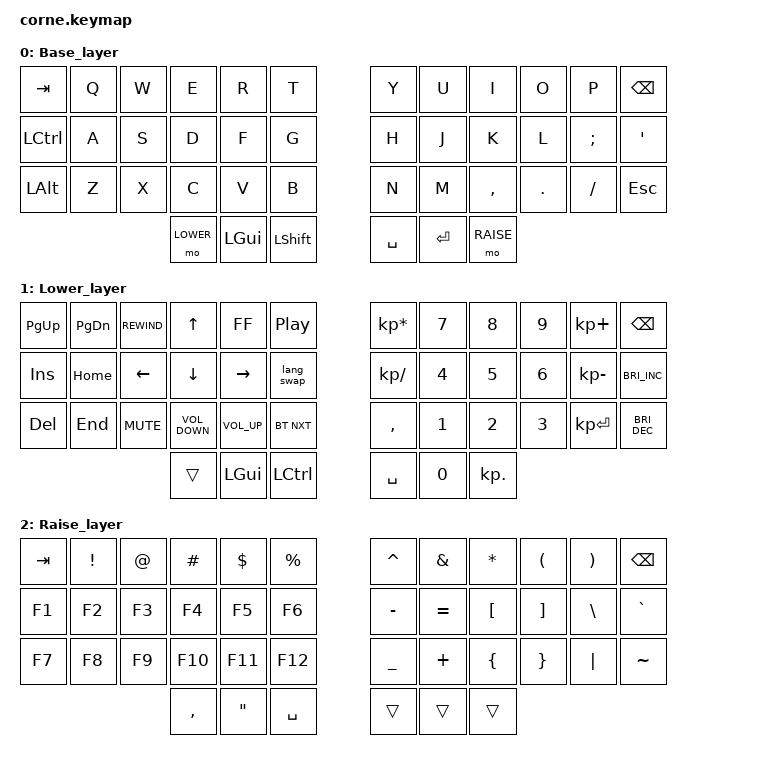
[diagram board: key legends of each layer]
#include <behaviors.dtsi>
#include <dt-bindings/zmk/bt.h>
#include <dt-bindings/zmk/keys.h>

#define BASE 0
#define LOWER 1
#define RAISE 2

/ {
    macros {
        lang_swap: lang_swap {
            compatible = "zmk,behavior-macro";
            #binding-cells = <0>;
            bindings =
                <&macro_press>,
                <&kp LEFT_CONTROL &kp SPACE>,
                <&macro_release>,
                <&kp LEFT_CONTROL &kp SPACE>;

            label = "LANG_SWAP";
        };
    };

    keymap {
        compatible = "zmk,keymap";

        Base_layer {
            bindings = <
&kp TAB           &kp Q  &kp W  &kp E      &kp R         &kp T             &kp Y      &kp U       &kp I      &kp O       &kp P          &kp BACKSPACE
&kp LEFT_CONTROL  &kp A  &kp S  &kp D      &kp F         &kp G             &kp H      &kp J       &kp K      &kp L       &kp SEMICOLON  &kp APOSTROPHE
&kp LEFT_ALT      &kp Z  &kp X  &kp C      &kp V         &kp B             &kp N      &kp M       &kp COMMA  &kp PERIOD  &kp SLASH      &kp ESCAPE
                                &mo LOWER  &kp LEFT_GUI  &kp LEFT_SHIFT    &kp SPACE  &kp RETURN  &mo RAISE
            >;
        };

        Lower_layer {
            bindings = <
&kp PG_UP   &kp PG_DN  &kp C_REWIND  &kp UP             &kp C_FF         &kp C_PLAY_PAUSE    &kp KP_MULTIPLY  &kp N7  &kp N8      &kp N9  &kp KP_PLUS   &kp BACKSPACE
&kp INSERT  &kp HOME   &kp LEFT      &kp DOWN           &kp RIGHT        &lang_swap          &kp KP_DIVIDE    &kp N4  &kp N5      &kp N6  &kp KP_MINUS  &kp C_BRIGHTNESS_INC
&kp DEL     &kp END    &kp K_MUTE    &kp C_VOLUME_DOWN  &kp C_VOLUME_UP  &bt BT_NXT          &kp COMMA        &kp N1  &kp N2      &kp N3  &kp KP_ENTER  &kp C_BRIGHTNESS_DEC
                                     &trans             &kp LEFT_GUI     &kp LEFT_CONTROL    &kp SPACE        &kp N0  &kp KP_DOT
            >;
        };

        Raise_layer {
            bindings = <
&kp TAB  &kp EXCLAMATION  &kp AT_SIGN  &kp HASH   &kp DOLLAR         &kp PERCENT    &kp CARET       &kp AMPERSAND  &kp ASTERISK      &kp LEFT_PARENTHESIS  &kp RIGHT_PARENTHESIS  &kp BACKSPACE
&kp F1   &kp F2           &kp F3       &kp F4     &kp F5             &kp F6         &kp MINUS       &kp EQUAL      &kp LEFT_BRACKET  &kp RIGHT_BRACKET     &kp BACKSLASH          &kp GRAVE
&kp F7   &kp F8           &kp F9       &kp F10    &kp F11            &kp F12        &kp UNDERSCORE  &kp PLUS       &kp LEFT_BRACE    &kp RIGHT_BRACE       &kp PIPE               &kp TILDE
                                       &kp COMMA  &kp DOUBLE_QUOTES  &kp SPACE      &trans          &trans         &trans
            >;
        };
    };
};
